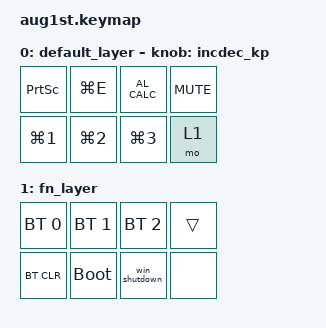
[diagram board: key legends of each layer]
#include <behaviors.dtsi>
#include <dt-bindings/zmk/keys.h>
#include <dt-bindings/zmk/bt.h>

/ {
    behaviors {
        incdec_kp: incdec_kp {
            compatible = "zmk,behavior-sensor-rotate";
            #sensor-binding-cells = <0>;
            bindings = <&kp C_VOL_DN>, <&kp C_VOL_UP>;
        };
    };

    macros {
        // Macro giả lập tổ hợp tắt nguồn nhanh trên Windows (Win + X -> U -> U)
        win_shutdown: win_shutdown {
            compatible = "zmk,behavior-macro";
            #binding-cells = <0>;
            wait-ms = <60>;
            tap-ms = <50>;
            bindings = <&kp LG(X) &kp U &kp U>;
        };
    };

    keymap {
        compatible = "zmk,keymap";

        default_layer {
            sensor-bindings = <&incdec_kp>;
            bindings = <
                &kp PSCRN   &kp LG(E)   &kp C_AL_CALC  &kp C_MUTE
                &kp LG(N1)  &kp LG(N2)  &kp LG(N3)  &mo 1
            >;
        };

        fn_layer {
            bindings = <
                &bt BT_SEL 0  &bt BT_SEL 1  &bt BT_SEL 2  &trans
                &bt BT_CLR    &bootloader   &win_shutdown &none
            >;
        };
    };
};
